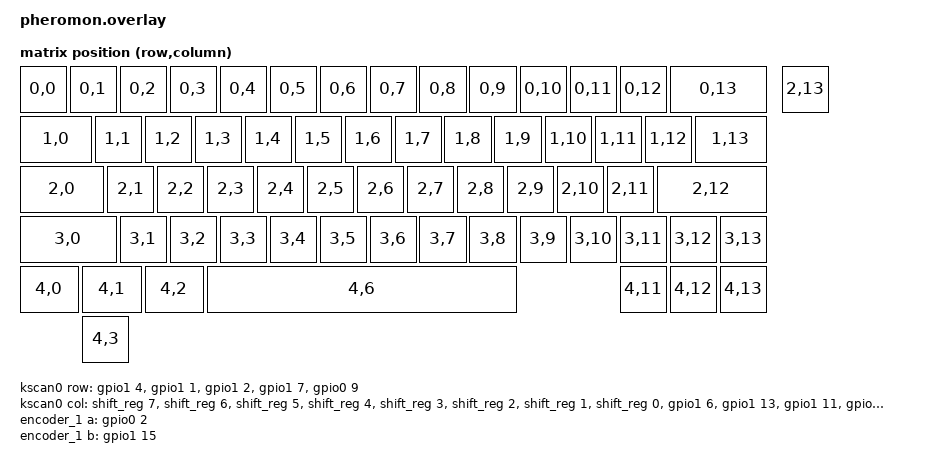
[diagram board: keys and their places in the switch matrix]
#include <dt-bindings/zmk/matrix_transform.h>
#include <physical_layouts.dtsi>

/ {
    chosen {
        zmk,kscan = &kscan0;
        zmk,physical-layout = &default_layout;
        zephyr,display = &oled;
    };
};

&pinctrl {
    spi1_default: spi1_default {
        group1 {
            psels = <NRF_PSEL(SPIM_SCK, 0, 17)>,
                    <NRF_PSEL(SPIM_MOSI, 0, 22)>,
                    <NRF_PSEL(SPIM_MISO, 0, 25)>;
        };
    };

    spi1_sleep: spi1_sleep {
        group1 {
            psels = <NRF_PSEL(SPIM_SCK, 0, 17)>,
                    <NRF_PSEL(SPIM_MOSI, 0, 22)>,
                    <NRF_PSEL(SPIM_MISO, 0, 25)>;
            low-power-enable;
        };
    };

    i2c0_default: i2c0_default {
        group1 {
            psels = <NRF_PSEL(TWIM_SDA, 1, 0)>,
                    <NRF_PSEL(TWIM_SCL, 0, 11)>;
        };
    };

    i2c0_sleep: i2c0_sleep {
        group1 {
            psels = <NRF_PSEL(TWIM_SDA, 1, 0)>,
                    <NRF_PSEL(TWIM_SCL, 0, 11)>;
            low-power-enable;
        };
    };
};

&spi1 {
    status = "okay";
    pinctrl-0 = <&spi1_default>;
    pinctrl-1 = <&spi1_sleep>;
    pinctrl-names = "default", "sleep";
    cs-gpios = <&gpio0 24 GPIO_ACTIVE_LOW>;

    shift_reg: 595@0 {
        compatible = "zmk,gpio-595";
        status = "okay";
        gpio-controller;
        spi-max-frequency = <200000>;
        reg = <0>;
        #gpio-cells = <2>;
        ngpios = <8>;
    };
};

&i2c0 {
    status = "okay";
    clock-frequency = <I2C_BITRATE_STANDARD>;
    pinctrl-0 = <&i2c0_default>;
    pinctrl-1 = <&i2c0_sleep>;
    pinctrl-names = "default", "sleep";

    oled: ssd1306@3c {
        compatible = "solomon,ssd1306fb";
        reg = <0x3c>;
        width = <128>;
        height = <32>;
        segment-offset = <0>;
        page-offset = <0>;
        display-offset = <0>;
        multiplex-ratio = <31>;
        com-sequential;
        inversion-on;
        prechargep = <0x22>;
    };
};



/ {
    kscan0: kscan_0 {
        compatible = "zmk,kscan-gpio-matrix";
        diode-direction = "col2row";

        col-gpios
            = <&shift_reg 7 (GPIO_ACTIVE_HIGH)> // C0: QH
            , <&shift_reg 6 (GPIO_ACTIVE_HIGH)> // C1: QG
            , <&shift_reg 5 (GPIO_ACTIVE_HIGH)> // C2: QF
            , <&shift_reg 4 (GPIO_ACTIVE_HIGH)> // C3: QE
            , <&shift_reg 3 (GPIO_ACTIVE_HIGH)> // C4: QD
            , <&shift_reg 2 (GPIO_ACTIVE_HIGH)> // C5: QC
            , <&shift_reg 1 (GPIO_ACTIVE_HIGH)> // C6: QB
            , <&shift_reg 0 (GPIO_ACTIVE_HIGH)> // C7: QA
            , <&gpio1 6 GPIO_ACTIVE_HIGH> // C8: GPIO 9
            , <&gpio1 13 GPIO_ACTIVE_HIGH>  // C9: GPIO 22
            , <&gpio1 11 GPIO_ACTIVE_HIGH>  // C10: GPIO 20
            , <&gpio0 10 GPIO_ACTIVE_HIGH>  // C11: GPIO 23
            , <&gpio0 6 GPIO_ACTIVE_HIGH> // C12: GPIO 0
            , <&gpio0 8 GPIO_ACTIVE_HIGH> // C13: GPIO 1 
            ;

        row-gpios
            = <&gpio1 4 (GPIO_ACTIVE_HIGH | GPIO_PULL_DOWN)>  // R0: GPIO 8
            , <&gpio1 1 (GPIO_ACTIVE_HIGH | GPIO_PULL_DOWN)>  // R1: GPIO 25
            , <&gpio1 2 (GPIO_ACTIVE_HIGH | GPIO_PULL_DOWN)>  // R2: GPIO 18
            , <&gpio1 7 (GPIO_ACTIVE_HIGH | GPIO_PULL_DOWN)>  // R3: GPIO 24
            , <&gpio0 9 (GPIO_ACTIVE_HIGH | GPIO_PULL_DOWN)>  // R4: GPIO 21
            ;
    };
     encoder_1: encoder_1 {
        compatible = "alps,ec11";
        a-gpios = <&gpio0 2 (GPIO_ACTIVE_LOW | GPIO_PULL_UP)>;
        b-gpios = <&gpio1 15 (GPIO_ACTIVE_LOW | GPIO_PULL_UP)>;
        resolution = <4>;
        steps = <80>;
        status = "okay";
    };

    sensors {
        compatible = "zmk,keymap-sensors";
        sensors = <&encoder_1>;
        triggers-per-rotation = <20>;
    };

    default_transform: keymap_transform_0 {
        compatible = "zmk,matrix-transform";
        columns = <14>;
        rows = <5>;
        map = <
                        RC(0,0) RC(0,1) RC(0,2) RC(0,3) RC(0,4) RC(0,5) RC(0,6) RC(0,7) RC(0,8) RC(0,9) RC(0,10) RC(0,11) RC(0,12) RC(0,13)  RC(2,13)
                        RC(1,0) RC(1,1) RC(1,2) RC(1,3) RC(1,4) RC(1,5) RC(1,6) RC(1,7) RC(1,8) RC(1,9) RC(1,10) RC(1,11) RC(1,12) RC(1,13)
                        RC(2,0) RC(2,1) RC(2,2) RC(2,3) RC(2,4) RC(2,5) RC(2,6) RC(2,7) RC(2,8) RC(2,9) RC(2,10) RC(2,11) RC(2,12)
                        RC(3,0) RC(3,1) RC(3,2) RC(3,3) RC(3,4) RC(3,5) RC(3,6) RC(3,7) RC(3,8) RC(3,9) RC(3,10) RC(3,11) RC(3,12) RC(3,13)
                RC(4,3) RC(4,0) RC(4,1) RC(4,2)                 RC(4,6)                          RC(4,11) RC(4,12) RC(4,13)
        >;
    };
    chosen {
    zmk,physical-layout = &default_layout;
};

default_layout: default_layout {
    compatible = "zmk,physical-layout";
    display-name = "Default";
    transform = <&default_transform>;
    kscan = <&kscan0>;
    keys  //                     w   h    x    y     rot    rx    ry
        = <&key_physical_attrs 100 100    0    0       0     0     0>
        , <&key_physical_attrs 100 100  100    0       0     0     0>
        , <&key_physical_attrs 100 100  200    0       0     0     0>
        , <&key_physical_attrs 100 100  300    0       0     0     0>
        , <&key_physical_attrs 100 100  400    0       0     0     0>
        , <&key_physical_attrs 100 100  500    0       0     0     0>
        , <&key_physical_attrs 100 100  600    0       0     0     0>
        , <&key_physical_attrs 100 100  700    0       0     0     0>
        , <&key_physical_attrs 100 100  800    0       0     0     0>
        , <&key_physical_attrs 100 100  900    0       0     0     0>
        , <&key_physical_attrs 100 100 1000    0       0     0     0>
        , <&key_physical_attrs 100 100 1100    0       0     0     0>
        , <&key_physical_attrs 100 100 1200    0       0     0     0>
        , <&key_physical_attrs 200 100 1300    0       0     0     0>
        , <&key_physical_attrs 100 100 1525    0       0     0     0>
        , <&key_physical_attrs 150 100    0  100       0     0     0>
        , <&key_physical_attrs 100 100  150  100       0     0     0>
        , <&key_physical_attrs 100 100  250  100       0     0     0>
        , <&key_physical_attrs 100 100  350  100       0     0     0>
        , <&key_physical_attrs 100 100  450  100       0     0     0>
        , <&key_physical_attrs 100 100  550  100       0     0     0>
        , <&key_physical_attrs 100 100  650  100       0     0     0>
        , <&key_physical_attrs 100 100  750  100       0     0     0>
        , <&key_physical_attrs 100 100  850  100       0     0     0>
        , <&key_physical_attrs 100 100  950  100       0     0     0>
        , <&key_physical_attrs 100 100 1050  100       0     0     0>
        , <&key_physical_attrs 100 100 1150  100       0     0     0>
        , <&key_physical_attrs 100 100 1250  100       0     0     0>
        , <&key_physical_attrs 150 100 1350  100       0     0     0>
        , <&key_physical_attrs 175 100    0  200       0     0     0>
        , <&key_physical_attrs 100 100  175  200       0     0     0>
        , <&key_physical_attrs 100 100  275  200       0     0     0>
        , <&key_physical_attrs 100 100  375  200       0     0     0>
        , <&key_physical_attrs 100 100  475  200       0     0     0>
        , <&key_physical_attrs 100 100  575  200       0     0     0>
        , <&key_physical_attrs 100 100  675  200       0     0     0>
        , <&key_physical_attrs 100 100  775  200       0     0     0>
        , <&key_physical_attrs 100 100  875  200       0     0     0>
        , <&key_physical_attrs 100 100  975  200       0     0     0>
        , <&key_physical_attrs 100 100 1075  200       0     0     0>
        , <&key_physical_attrs 100 100 1175  200       0     0     0>
        , <&key_physical_attrs 225 100 1275  200       0     0     0>
        , <&key_physical_attrs 200 100    0  300       0     0     0>
        , <&key_physical_attrs 100 100  200  300       0     0     0>
        , <&key_physical_attrs 100 100  300  300       0     0     0>
        , <&key_physical_attrs 100 100  400  300       0     0     0>
        , <&key_physical_attrs 100 100  500  300       0     0     0>
        , <&key_physical_attrs 100 100  600  300       0     0     0>
        , <&key_physical_attrs 100 100  700  300       0     0     0>
        , <&key_physical_attrs 100 100  800  300       0     0     0>
        , <&key_physical_attrs 100 100  900  300       0     0     0>
        , <&key_physical_attrs 100 100 1000  300       0     0     0>
        , <&key_physical_attrs 100 100 1100  300       0     0     0>
        , <&key_physical_attrs 100 100 1200  300       0     0     0>
        , <&key_physical_attrs 100 100 1300  300       0     0     0>
        , <&key_physical_attrs 100 100 1400  300       0     0     0>
        , <&key_physical_attrs 100 100  125  500       0     0     0>
        , <&key_physical_attrs 125 100    0  400       0     0     0>
        , <&key_physical_attrs 125 100  125  400       0     0     0>
        , <&key_physical_attrs 125 100  250  400       0     0     0>
        , <&key_physical_attrs 625 100  375  400       0     0     0>
        , <&key_physical_attrs 100 100 1200  400       0     0     0>
        , <&key_physical_attrs 100 100 1300  400       0     0     0>
        , <&key_physical_attrs 100 100 1400  400       0     0     0>
        ;
};
};
